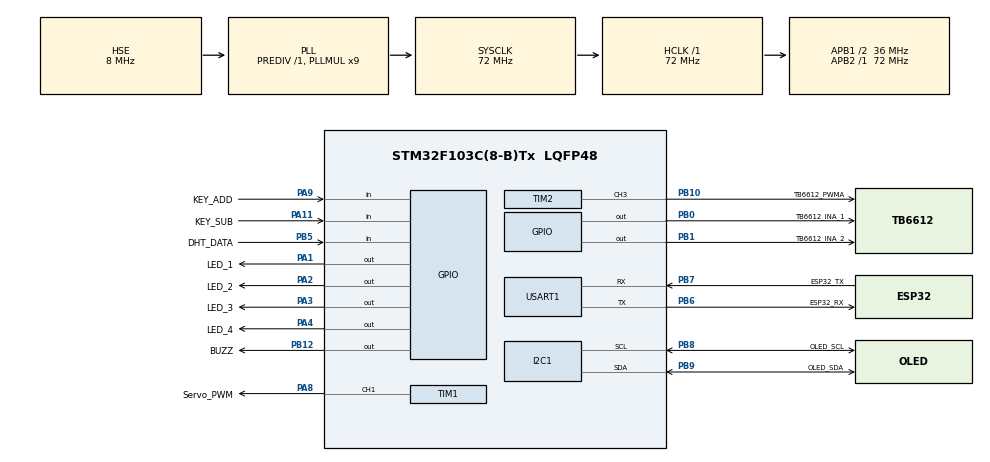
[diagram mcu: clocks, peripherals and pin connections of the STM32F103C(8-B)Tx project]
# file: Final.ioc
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Mcu.Family=STM32F1
Mcu.Name=STM32F103C(8-B)Tx
Mcu.Package=LQFP48
NVIC.PriorityGroup=NVIC_PRIORITYGROUP_4
PA0-WKUP.Mode=SYS_WakeUp0
PA0-WKUP.Signal=SYS_WKUP
PA1.GPIO_Label=LED_1
PA1.GPIO_Speed=GPIO_SPEED_FREQ_HIGH
PA1.PinState=GPIO_PIN_SET
PA1.Signal=GPIO_Output
PA11.GPIO_Label=KEY_SUB
PA11.GPIO_PuPd=GPIO_PULLUP
PA11.Signal=GPIO_Input
PA13.Mode=Serial_Wire
PA13.Signal=SYS_JTMS-SWDIO
PA14.Mode=Serial_Wire
PA14.Signal=SYS_JTCK-SWCLK
PA2.GPIO_Label=LED_2
PA2.GPIO_Speed=GPIO_SPEED_FREQ_HIGH
PA2.PinState=GPIO_PIN_SET
PA2.Signal=GPIO_Output
PA3.GPIO_Label=LED_3
PA3.GPIO_Speed=GPIO_SPEED_FREQ_HIGH
PA3.PinState=GPIO_PIN_SET
PA3.Signal=GPIO_Output
PA4.GPIO_Label=LED_4
PA4.GPIO_Speed=GPIO_SPEED_FREQ_HIGH
PA4.PinState=GPIO_PIN_SET
PA4.Signal=GPIO_Output
PA8.GPIO_Label=Servo_PWM
PA8.GPIO_Speed=GPIO_SPEED_FREQ_HIGH
PA8.Signal=S_TIM1_CH1
PA9.GPIO_Label=KEY_ADD
PA9.GPIO_PuPd=GPIO_PULLUP
PA9.Signal=GPIO_Input
PB0.GPIO_Label=TB6612_INA_1
PB0.GPIO_Speed=GPIO_SPEED_FREQ_HIGH
PB0.PinState=GPIO_PIN_RESET
PB0.Signal=GPIO_Output
PB1.GPIO_Label=TB6612_INA_2
PB1.GPIO_Speed=GPIO_SPEED_FREQ_HIGH
PB1.PinState=GPIO_PIN_RESET
PB1.Signal=GPIO_Output
PB10.GPIO_Label=TB6612_PWMA
PB10.GPIO_Speed=GPIO_SPEED_FREQ_HIGH
PB10.Signal=S_TIM2_CH3
PB12.GPIO_Label=BUZZ
PB12.GPIO_Speed=GPIO_SPEED_FREQ_HIGH
PB12.PinState=GPIO_PIN_SET
PB12.Signal=GPIO_Output
PB5.GPIO_Label=DHT_DATA
PB5.GPIO_PuPd=GPIO_PULLUP
PB5.Signal=GPIO_Input
PB6.GPIO_Label=ESP32_RX
PB6.Mode=Asynchronous
PB6.Signal=USART1_TX
PB7.GPIO_Label=ESP32_TX
PB7.Mode=Asynchronous
PB7.Signal=USART1_RX
PB8.GPIO_Label=OLED_SCL
PB8.Mode=I2C
PB8.Signal=I2C1_SCL
PB9.GPIO_Label=OLED_SDA
PB9.Mode=I2C
PB9.Signal=I2C1_SDA
PD0-OSC_IN.Mode=HSE-External-Oscillator
PD0-OSC_IN.Signal=RCC_OSC_IN
PD1-OSC_OUT.Mode=HSE-External-Oscillator
PD1-OSC_OUT.Signal=RCC_OSC_OUT
ProjectManager.HeapSize=0x200
ProjectManager.StackSize=0x400
ProjectManager.TargetToolchain=MDK-ARM V5
RCC.AHBFreq_Value=72000000
RCC.APB1CLKDivider=RCC_HCLK_DIV2
RCC.APB1Freq_Value=36000000
RCC.APB1TimFreq_Value=72000000
RCC.APB2Freq_Value=72000000
RCC.APB2TimFreq_Value=72000000
RCC.HCLKFreq_Value=72000000
RCC.PLLMUL=RCC_PLL_MUL9
RCC.PLLSourceVirtual=RCC_PLLSOURCE_HSE
RCC.SYSCLKFreq_VALUE=72000000
RCC.SYSCLKSource=RCC_SYSCLKSOURCE_PLLCLK
RCC.USBFreq_Value=72000000
SH.S_TIM1_CH1.0=TIM1_CH1,PWM Generation1 CH1
SH.S_TIM2_CH3.0=TIM2_CH3,PWM Generation3 CH3
TIM1.Channel-PWM\ Generation1\ CH1=TIM_CHANNEL_1
TIM1.Period=1999
TIM1.Prescaler=719
TIM2.Channel-PWM\ Generation3\ CH3=TIM_CHANNEL_3
TIM2.Period=19999
TIM2.Prescaler=71
USART1.VirtualMode=VM_ASYNC
VP_TIM1_VS_ClockSourceINT.Mode=Internal
VP_TIM2_VS_ClockSourceINT.Mode=Internal
board=custom

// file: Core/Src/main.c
/* USER CODE BEGIN Header */
/**
 ******************************************************************************
 * @file           : main.c
 * @brief          : Main program body
 ******************************************************************************
 * @attention
 *
 * Copyright (c) 2026 STMicroelectronics.
 * All rights reserved.
 *
 ******************************************************************************
 */
/* USER CODE END Header */
#include "main.h"
#include "i2c.h"
#include "tim.h"
#include "usart.h"
#include "gpio.h"

/* USER CODE BEGIN Includes */
#include "OLED.h"
#include "DHT11.h"
#include <stdio.h>
#include <string.h>
#include <stdlib.h>
/* USER CODE END Includes */

/* USER CODE BEGIN PTD */
typedef struct {
    float Kp, Ki, Kd;
    float setpoint;
    float integral;
    float prev_error;
    float out_min, out_max;
} PID_t;
/* USER CODE END PTD */

/* USER CODE BEGIN PD */
#define TEMP_ALARM_HIGH         28.0f
#define TEMP_ALARM_LOW          27.0f
#define HUM_ALARM_HIGH          80.0f
#define HUM_ALARM_LOW           75.0f
#define SERVO_ANGLE_MIN         0
#define SERVO_ANGLE_MAX         180
#define PWM_SERVO_MIN           50
#define PWM_SERVO_MAX           250
#define SENSOR_INTERVAL_MS      2000
#define DEBOUNCE_MS             20
#define STARTUP_SCREEN1_MS      3000
#define STARTUP_SCREEN2_MS      5000

#define PID_KP_TEMP             2500.0f
#define PID_KI_TEMP             500.0f
#define PID_KD_TEMP             100.0f
#define PID_SETPOINT_TEMP       ((TEMP_ALARM_HIGH + TEMP_ALARM_LOW) / 2.0f)
#define PID_KP_HUM              1500.0f
#define PID_KI_HUM              100.0f
#define PID_KD_HUM              50.0f
#define PID_SETPOINT_HUM        77.0f
#define PID_OUT_MIN             0.0f
#define PID_OUT_MAX             19999.0f

#define BUZZ_ON()               HAL_GPIO_WritePin(BUZZ_GPIO_Port, BUZZ_Pin, GPIO_PIN_RESET)
#define BUZZ_OFF()              HAL_GPIO_WritePin(BUZZ_GPIO_Port, BUZZ_Pin, GPIO_PIN_SET)
/* USER CODE END PD */

/* USER CODE BEGIN PV */
static uint8_t  auto_mode = 0;
static float    current_temp = 0.0f;
static float    current_hum = 0.0f;
static uint16_t fan_duty = 0;
static uint16_t servo_angle = 90;
static uint8_t  alarm_state = 0;
static char     usart_tx_buf[64];
static uint32_t last_sensor_tick = 0;
static uint8_t  main_press = 1;
static uint8_t  mode_sel = 1;
static PID_t     pid_temp;
static PID_t     pid_hum;
/* USER CODE END PV */

void SystemClock_Config(void);
/* USER CODE BEGIN PFP */
static uint8_t  Button_ScanAdd(void);
static uint8_t  Button_ScanSub(void);
static void     PID_Init(PID_t *pid, float Kp, float Ki, float Kd, float setpoint, float out_min, float out_max);
static float    PID_Update(PID_t *pid, float input, float dt);
static uint16_t PID_FanControl(float temp, float hum);
static void     UpdateOLED_Screen1(void);
static void     UpdateOLED_Screen2(uint8_t mode_sel, uint32_t remaining_s);
static void     UpdateOLED_Main(float temp, float hum, uint16_t fan_duty_val, uint16_t servo_val);
static void     ParseUSARTCommand(char *cmd);
static void     CheckAlarm(float temp, float hum);
/* USER CODE END PFP */

/* USER CODE BEGIN 0 */

static uint8_t Button_ScanAdd(void)
{
    static uint8_t  last_stable = 1;
    static uint8_t  last_raw = 1;
    static uint32_t tick = 0;
    uint8_t state = HAL_GPIO_ReadPin(KEY_ADD_GPIO_Port, KEY_ADD_Pin);
    if (state != last_raw) {
        tick = HAL_GetTick();
        last_raw = state;
    }
    if ((HAL_GetTick() - tick) >= DEBOUNCE_MS) {
        if (last_raw == 0 && last_stable == 1) {
            last_stable = 0;
            return 1;
        }
        if (last_raw == 1) {
            last_stable = 1;
        }
    }
    return 0;
}

static uint8_t Button_ScanSub(void)
{
    static uint8_t  last_stable = 1;
    static uint8_t  last_raw = 1;
    static uint32_t tick = 0;
    uint8_t state = HAL_GPIO_ReadPin(KEY_SUB_GPIO_Port, KEY_SUB_Pin);
    if (state != last_raw) {
        tick = HAL_GetTick();
        last_raw = state;
    }
    if ((HAL_GetTick() - tick) >= DEBOUNCE_MS) {
        if (last_raw == 0 && last_stable == 1) {
            last_stable = 0;
            return 1;
        }
        if (last_raw == 1) {
            last_stable = 1;
        }
    }
    return 0;
}

static void LED_UpdateByAngle(uint16_t angle)
{
    uint8_t idx;
    if      (angle < 30)  idx = 0;
    else if (angle < 90)  idx = 1;
    else if (angle < 150) idx = 2;
    else                  idx = 3;

    HAL_GPIO_WritePin(LED_1_GPIO_Port, LED_1_Pin, (idx == 0) ? GPIO_PIN_RESET : GPIO_PIN_SET);
    HAL_GPIO_WritePin(LED_2_GPIO_Port, LED_2_Pin, (idx == 1) ? GPIO_PIN_RESET : GPIO_PIN_SET);
    HAL_GPIO_WritePin(LED_3_GPIO_Port, LED_3_Pin, (idx == 2) ? GPIO_PIN_RESET : GPIO_PIN_SET);
    HAL_GPIO_WritePin(LED_4_GPIO_Port, LED_4_Pin, (idx == 3) ? GPIO_PIN_RESET : GPIO_PIN_SET);
}

static void PID_Init(PID_t *pid, float Kp, float Ki, float Kd, float setpoint, float out_min, float out_max)
{
    pid->Kp = Kp;
    pid->Ki = Ki;
    pid->Kd = Kd;
    pid->setpoint = setpoint;
    pid->integral = 0.0f;
    pid->prev_error = 0.0f;
    pid->out_min = out_min;
    pid->out_max = out_max;
}

static float PID_Update(PID_t *pid, float input, float dt)
{
    float error = input - pid->setpoint;
    if (error > 0.0f) {
        pid->integral += error * dt;
        if (pid->integral > pid->out_max) pid->integral = pid->out_max;
    } else if (error < 0.0f) {
        pid->integral += error * dt;
        if (pid->integral < 0.0f) pid->integral = 0.0f;
    }
    float derivative = (error - pid->prev_error) / dt;
    pid->prev_error = error;
    float output = pid->Kp * error + pid->Ki * pid->integral + pid->Kd * derivative;
    if (output > pid->out_max) output = pid->out_max;
    if (output < pid->out_min) output = pid->out_min;
    return output;
}

static uint16_t PID_FanControl(float temp, float hum)
{
    float dt = SENSOR_INTERVAL_MS / 1000.0f;
    float out_temp = PID_Update(&pid_temp, temp, dt);
    float out_hum  = PID_Update(&pid_hum,  hum,  dt);

    if (temp < PID_SETPOINT_TEMP - 1.5f) out_temp = 0.0f;
    else if (temp <= PID_SETPOINT_TEMP && out_temp < 1000.0f) out_temp = 0.0f;

    if (hum < PID_SETPOINT_HUM - 5.0f) out_hum = 0.0f;
    else if (hum <= PID_SETPOINT_HUM && out_hum < 1000.0f) out_hum = 0.0f;

    if (temp > PID_SETPOINT_TEMP && out_temp < 8000.0f) out_temp = 8000.0f;
    if (hum > PID_SETPOINT_HUM && out_hum < 8000.0f)    out_hum  = 8000.0f;

    float output = (out_temp > out_hum) ? out_temp : out_hum;
    if (output > PID_OUT_MAX) output = PID_OUT_MAX;
    if (output < 0.0f) output = 0.0f;
    return (uint16_t)output;
}

static void UpdateOLED_Screen1(void)
{
    OLED_Clear();
    OLED_ShowCHinese(24, 0, 4, 0);
    OLED_ShowCHinese(40, 0, 5, 0);
    OLED_ShowCHinese(56, 0, 32, 0);
    OLED_ShowCHinese(72, 0, 33, 0);
    OLED_ShowString(0, 4, "A236112", 16, 0);
	OLED_ShowCHinese(56, 4, 17, 0);
    OLED_ShowCHinese(72, 4, 18, 0);
    OLED_ShowCHinese(88, 4, 19, 0);
}

static void UpdateOLED_Screen2(uint8_t mode_sel, uint32_t remaining_s)
{
    static uint8_t  last_sel = 0xFF;
    static uint32_t last_rem = 0xFFFFFFFF;

    if (mode_sel == last_sel && remaining_s == last_rem) return;
    last_sel = mode_sel; last_rem = remaining_s;

    OLED_Clear();
    OLED_ShowString(0, 0, "Select Mode", 16, 0);
    if (mode_sel) {
        OLED_ShowString(0, 2, ">Manual Mode", 16, 0);
        OLED_ShowString(0, 4, " Auto Mode", 16, 0);
    } else {
        OLED_ShowString(0, 2, ">Auto Mode", 16, 0);
        OLED_ShowString(0, 4, " Manual Mode", 16, 0);
    }
    char buf[14];
    sprintf(buf, "Countdown:%lu", remaining_s);
    OLED_ShowString(0, 6, buf, 16, 0);
}

static void UpdateOLED_Main(float temp, float hum, uint16_t fan_duty_val, uint16_t servo_val)
{
    static float    last_temp = -99.0f, last_hum = -99.0f;
    static uint16_t last_duty = 0xFFFF, last_servo = 0xFFFF;

    if (temp == last_temp && hum == last_hum && fan_duty_val == last_duty && servo_val == last_servo)
    {
        return;
    }
    last_temp = temp; last_hum = hum; last_duty = fan_duty_val; last_servo = servo_val;

    OLED_Clear();

    OLED_ShowCHinese(0, 0, 23, 0);
    OLED_ShowCHinese(16, 0, 25, 0);
    char buf[12];
    sprintf(buf, ": %.1f C", temp);
    OLED_ShowString(32, 0, buf, 16, 0);

    OLED_ShowCHinese(0, 2, 24, 0);
    OLED_ShowCHinese(16, 2, 25, 0);
    sprintf(buf, ": %.1f %%", hum);
    OLED_ShowString(32, 2, buf, 16, 0);

    OLED_ShowCHinese(0, 4, 26, 0);
    OLED_ShowCHinese(16, 4, 27, 0);
    OLED_ShowString(34, 4, ":", 16, 0);
    OLED_ShowNum(42, 4, fan_duty_val, 5, 16, 0);

    OLED_ShowString(0, 6, "Servo:", 16, 0);
    OLED_ShowNum(48, 6, servo_val, 3, 16, 0);
}

static void ParseUSARTCommand(char *cmd)
{
    if (strncmp(cmd, "M:0", 3) == 0) { auto_mode = 1; mode_sel = 0; }
    else if (strncmp(cmd, "M:1", 3) == 0) { auto_mode = 0; mode_sel = 1; }
    else if (strncmp(cmd, "S:", 2) == 0) {
        int ang = atoi(cmd + 2);
        if (ang < SERVO_ANGLE_MIN) ang = SERVO_ANGLE_MIN;
        if (ang > SERVO_ANGLE_MAX) ang = SERVO_ANGLE_MAX;
        servo_angle = (uint16_t)ang;
        uint16_t cmp = PWM_SERVO_MIN + (uint32_t)(servo_angle) * (PWM_SERVO_MAX - PWM_SERVO_MIN) / 180;
        PWM_SetServoCompare(cmp);
        LED_UpdateByAngle(servo_angle);
    }
    else if (strncmp(cmd, "F:", 2) == 0) {
        int pct = atoi(cmd + 2);
        if (pct < 0) pct = 0; if (pct > 100) pct = 100;
        fan_duty = (uint16_t)(pct * 19999 / 100);
        if (fan_duty > 0) {
            HAL_GPIO_WritePin(TB6612_INA_1_GPIO_Port, TB6612_INA_1_Pin, GPIO_PIN_SET);
            HAL_GPIO_WritePin(TB6612_INA_2_GPIO_Port, TB6612_INA_2_Pin, GPIO_PIN_RESET);
        } else {
            HAL_GPIO_WritePin(TB6612_INA_1_GPIO_Port, TB6612_INA_1_Pin, GPIO_PIN_RESET);
            HAL_GPIO_WritePin(TB6612_INA_2_GPIO_Port, TB6612_INA_2_Pin, GPIO_PIN_RESET);
        }
        PWM_SetDriverCompare(fan_duty);
    }
}

static void CheckAlarm(float temp, float hum)
{
    uint8_t should_alarm = 0;
    if (temp >= TEMP_ALARM_HIGH || hum >= HUM_ALARM_HIGH) {
        should_alarm = 1;
    } else if (temp <= TEMP_ALARM_LOW && hum <= HUM_ALARM_LOW) {
        should_alarm = 0;
    } else if (alarm_state) {
        should_alarm = 1;
    }

    if (should_alarm && !alarm_state) {
        BUZZ_ON();
        alarm_state = 1;
    } else if (!should_alarm && alarm_state) {
        BUZZ_OFF();
        alarm_state = 0;
    }
}

/* USER CODE END 0 */

int main(void)
{

  /* MCU Configuration--------------------------------------------------------*/

  /* Reset of all peripherals, Initializes the Flash interface and the Systick. */
  HAL_Init();

  /* Configure the system clock */
  SystemClock_Config();

  /* Initialize all configured peripherals */
  MX_GPIO_Init();
  MX_I2C1_Init();
  MX_TIM1_Init();
  MX_TIM2_Init();
  MX_USART1_UART_Init();
  /* USER CODE BEGIN 2 */
  OLED_Init();
  OLED_Clear();

  HAL_TIM_PWM_Start(&htim1, TIM_CHANNEL_1);
  TIM1->BDTR |= TIM_BDTR_MOE;
  HAL_TIM_PWM_Start(&htim2, TIM_CHANNEL_3);

  PID_Init(&pid_temp, PID_KP_TEMP, PID_KI_TEMP, PID_KD_TEMP, PID_SETPOINT_TEMP, PID_OUT_MIN, PID_OUT_MAX);
  PID_Init(&pid_hum,  PID_KP_HUM,  PID_KI_HUM,  PID_KD_HUM,  PID_SETPOINT_HUM,  PID_OUT_MIN, PID_OUT_MAX);

  PWM_SetServoCompare(PWM_SERVO_MIN + (uint32_t)(servo_angle) * (PWM_SERVO_MAX - PWM_SERVO_MIN) / 180);
  PWM_SetDriverCompare(0);

  HAL_GPIO_WritePin(TB6612_INA_1_GPIO_Port, TB6612_INA_1_Pin, GPIO_PIN_RESET);
  HAL_GPIO_WritePin(TB6612_INA_2_GPIO_Port, TB6612_INA_2_Pin, GPIO_PIN_RESET);
  BUZZ_OFF();
  HAL_GPIO_WritePin(LED_1_GPIO_Port, LED_1_Pin, GPIO_PIN_SET);
  HAL_GPIO_WritePin(LED_2_GPIO_Port, LED_2_Pin, GPIO_PIN_SET);
  HAL_GPIO_WritePin(LED_3_GPIO_Port, LED_3_Pin, GPIO_PIN_SET);
  HAL_GPIO_WritePin(LED_4_GPIO_Port, LED_4_Pin, GPIO_PIN_SET);

  UpdateOLED_Screen1();
  HAL_Delay(STARTUP_SCREEN1_MS);

  mode_sel = 1;
  uint32_t screen2_start = HAL_GetTick();
  uint32_t screen2_elapsed;
  uint32_t screen2_remaining;

  servo_angle = 0;
  PWM_SetServoCompare(PWM_SERVO_MIN);
  LED_UpdateByAngle(servo_angle);

  do {
      screen2_elapsed = HAL_GetTick() - screen2_start;
      screen2_remaining = (STARTUP_SCREEN2_MS - screen2_elapsed + 999) / 1000;
      uint8_t add = Button_ScanAdd();
      uint8_t sub = Button_ScanSub();
      if (add) {
          mode_sel = !mode_sel;
      }
      if (sub) {
          if (servo_angle == 0) servo_angle = 180;
          else                  servo_angle -= 60;
      }
      if (add || sub) {
          uint16_t cmp = PWM_SERVO_MIN + (uint32_t)(servo_angle) * (PWM_SERVO_MAX - PWM_SERVO_MIN) / 180;
          PWM_SetServoCompare(cmp);
          LED_UpdateByAngle(servo_angle);
      }
      UpdateOLED_Screen2(mode_sel, screen2_remaining);
  } while (screen2_elapsed < STARTUP_SCREEN2_MS);

  servo_angle = 0;
  main_press = 1;
  PWM_SetServoCompare(PWM_SERVO_MIN);
  LED_UpdateByAngle(servo_angle);

  if (mode_sel == 0) {
      auto_mode = 1;
  } else {
      auto_mode = 0;
  }

  last_sensor_tick = HAL_GetTick();
  /* USER CODE END 2 */

  /* Infinite loop */
  /* USER CODE BEGIN WHILE */
  while (1)
  {
    uint32_t tick = HAL_GetTick();

    if (tick - last_sensor_tick >= SENSOR_INTERVAL_MS)
    {
        last_sensor_tick = tick;

        DHT11_Data dht_data;
        if (DHT11_Read(&dht_data) == DHT11_OK)
        {
            float new_temp = dht_data.temperature * 0.92f;
            float new_hum  = dht_data.humidity;
            if (current_temp > 0.0f) {
                float dt = new_temp - current_temp;
                float dh = new_hum - current_hum;
                if (dt > 10.0f || dt < -10.0f || dh > 30.0f || dh < -30.0f) {
                    new_temp = current_temp;
                    new_hum  = current_hum;
                }
            }
            current_temp = new_temp;
            current_hum  = new_hum;
        }
        if (auto_mode)
        {
            fan_duty = PID_FanControl(current_temp, current_hum);
            if (fan_duty > 0)
            {
                HAL_GPIO_WritePin(TB6612_INA_1_GPIO_Port, TB6612_INA_1_Pin, GPIO_PIN_SET);
                HAL_GPIO_WritePin(TB6612_INA_2_GPIO_Port, TB6612_INA_2_Pin, GPIO_PIN_RESET);
            }
            else
            {
                HAL_GPIO_WritePin(TB6612_INA_1_GPIO_Port, TB6612_INA_1_Pin, GPIO_PIN_RESET);
                HAL_GPIO_WritePin(TB6612_INA_2_GPIO_Port, TB6612_INA_2_Pin, GPIO_PIN_RESET);
            }
            PWM_SetDriverCompare(fan_duty);
        }

        CheckAlarm(current_temp, current_hum);

        UpdateOLED_Main(current_temp, current_hum, fan_duty, servo_angle);

        sprintf(usart_tx_buf, "T:%.1f,H:%.1f\r\n", current_temp, current_hum);
        USART_SendString(usart_tx_buf);
    }

    if (!auto_mode)
    {
        uint8_t add = Button_ScanAdd();
        uint8_t sub = Button_ScanSub();
        if (add) {
            servo_angle += 60;
            if (servo_angle > 180) servo_angle = 0;
        }
        if (sub) {
            if (servo_angle == 0) servo_angle = 180;
            else                  servo_angle -= 60;
        }
        if (add || sub) {
            main_press = servo_angle / 60 + 1;
            uint16_t cmp = PWM_SERVO_MIN + (uint32_t)(servo_angle) * (PWM_SERVO_MAX - PWM_SERVO_MIN) / 180;
            PWM_SetServoCompare(cmp);
            LED_UpdateByAngle(servo_angle);
            UpdateOLED_Main(current_temp, current_hum, fan_duty, servo_angle);
        }
    }

    if (usart_rx_flag)
    {
        ParseUSARTCommand((char *)usart_rx_buf);
        usart_rx_flag = 0;
    }

    /* USER CODE END WHILE */

  }
}

void SystemClock_Config(void)
{
  RCC_OscInitTypeDef RCC_OscInitStruct = {0};
  RCC_ClkInitTypeDef RCC_ClkInitStruct = {0};

  /** Initializes the RCC Oscillators according to the specified parameters
  * in the RCC_OscInitTypeDef structure.
  */
  RCC_OscInitStruct.OscillatorType = RCC_OSCILLATORTYPE_HSE;
  RCC_OscInitStruct.HSEState = RCC_HSE_ON;
  RCC_OscInitStruct.HSEPredivValue = RCC_HSE_PREDIV_DIV1;
  RCC_OscInitStruct.HSIState = RCC_HSI_ON;
  RCC_OscInitStruct.PLL.PLLState = RCC_PLL_ON;
  RCC_OscInitStruct.PLL.PLLSource = RCC_PLLSOURCE_HSE;
  RCC_OscInitStruct.PLL.PLLMUL = RCC_PLL_MUL9;
  if (HAL_RCC_OscConfig(&RCC_OscInitStruct) != HAL_OK)
  {
    Error_Handler();
  }

  /** Initializes the CPU, AHB and APB buses clocks
  */
  RCC_ClkInitStruct.ClockType = RCC_CLOCKTYPE_HCLK|RCC_CLOCKTYPE_SYSCLK
                              |RCC_CLOCKTYPE_PCLK1|RCC_CLOCKTYPE_PCLK2;
  RCC_ClkInitStruct.SYSCLKSource = RCC_SYSCLKSOURCE_PLLCLK;
  RCC_ClkInitStruct.AHBCLKDivider = RCC_SYSCLK_DIV1;
  RCC_ClkInitStruct.APB1CLKDivider = RCC_HCLK_DIV2;
  RCC_ClkInitStruct.APB2CLKDivider = RCC_HCLK_DIV1;

  if (HAL_RCC_ClockConfig(&RCC_ClkInitStruct, FLASH_LATENCY_2) != HAL_OK)
  {
    Error_Handler();
  }
}

void Error_Handler(void)
{
  __disable_irq();
  while (1)
  {
  }
}
